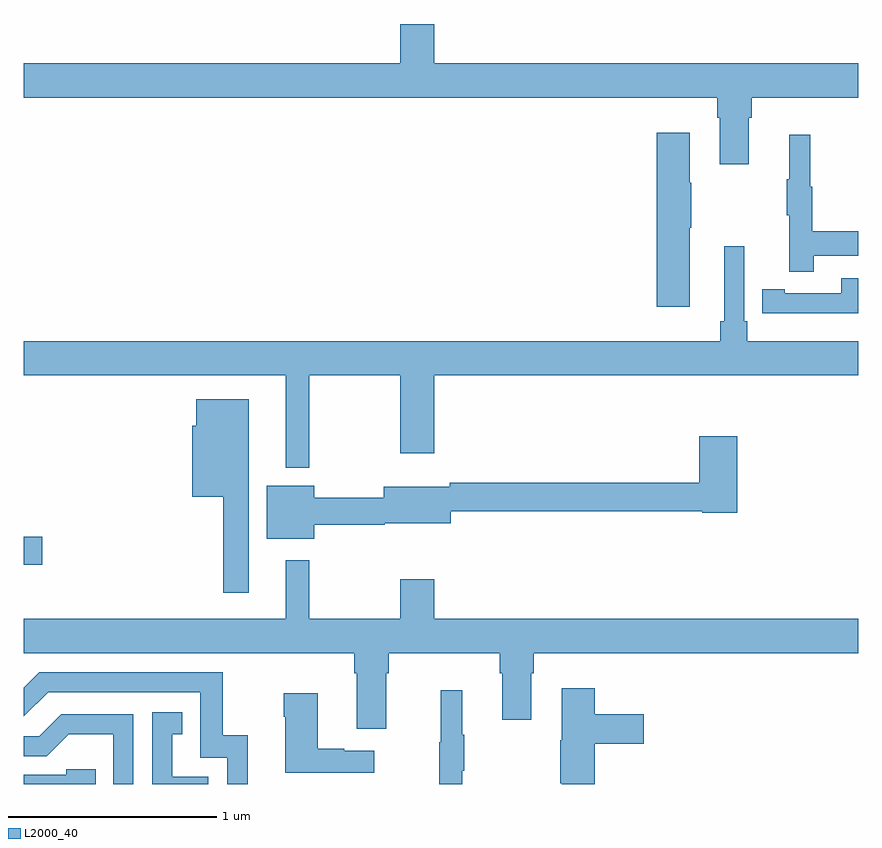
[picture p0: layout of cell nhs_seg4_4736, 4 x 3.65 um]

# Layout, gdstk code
import gdstk
lib = gdstk.Library(unit=1e-6, precision=1e-09)
def R(c, l, rs):  # rectangles x0, y0, x1, y1
    for r in rs: c.add(gdstk.rectangle(r[:2], r[2:], *l))
def P(c, l, *ps):  # polygons
    for p in ps: c.add(gdstk.Polygon(p, *l))
L2000_40 = (2000, 40)

nhs_seg4_4736 = lib.new_cell('nhs_seg4_4736')
R(nhs_seg4_4736, L2000_40, [(367,755.951,367.087,756.086)])
P(nhs_seg4_4736, L2000_40, [(370.477,758.096),(370.49,758.096),(370.49,758.192),(371,758.192),(371,758.356),(368.968,758.356),(368.968,758.545),(368.804,758.545),(368.804,758.356),(367,758.356),(367,758.192),(370.325,758.192),(370.325,758.096),(370.337,758.096),(370.337,757.872),(370.477,757.872)],
  [(370.192,757.567),(370.2,757.567),(370.2,757.784),(370.192,757.784),(370.192,758.023),(370.034,758.023),(370.034,757.188),(370.192,757.188)],
  [(370.787,757.434),(371,757.434),(371,757.55),(370.78,757.55),(370.78,757.764),(370.772,757.764),(370.772,758.014),(370.67,758.014),(370.67,757.801),(370.659,757.801),(370.659,757.627),(370.67,757.627),(370.67,757.356),(370.787,757.356)],
  [(368.369,756.86),(368.804,756.86),(368.804,756.486),(368.968,756.486),(368.968,756.86),(371,756.86),(371,757.024),(370.469,757.024),(370.469,757.12),(370.455,757.12),(370.455,757.48),(370.358,757.48),(370.358,757.12),(370.339,757.12),(370.339,757.024),(367,757.024),(367,756.86),(368.255,756.86),(368.255,756.416),(368.369,756.416)],
  [(371,757.326),(370.92,757.326),(370.92,757.254),(370.648,757.254),(370.648,757.274),(370.54,757.274),(370.54,757.158),(370.648,757.158),(370.648,757.157),(371,757.157)],
  [(368.077,756.745),(367.826,756.745),(367.826,756.618),(367.808,756.618),(367.808,756.278),(367.956,756.278),(367.956,755.817),(368.077,755.817)],
  [(368.392,756.144),(368.73,756.144),(368.73,756.151),(369.046,756.151),(369.046,756.208),(370.254,756.208),(370.254,756.2),(370.421,756.2),(370.421,756.568),(370.238,756.568),(370.238,756.344),(369.042,756.344),(369.042,756.325),(368.726,756.325),(368.726,756.272),(368.392,756.272),(368.392,756.331),(368.165,756.331),(368.165,756.077),(368.392,756.077)],
  [(368.737,755.432),(368.75,755.432),(368.75,755.528),(369.281,755.528),(369.281,755.432),(369.293,755.432),(369.293,755.208),(369.433,755.208),(369.433,755.432),(369.446,755.432),(369.446,755.528),(371,755.528),(371,755.692),(368.968,755.692),(368.968,755.881),(368.804,755.881),(368.804,755.692),(368.369,755.692),(368.369,755.974),(368.255,755.974),(368.255,755.692),(367,755.692),(367,755.528),(368.585,755.528),(368.585,755.432),(368.597,755.432),(368.597,755.166),(368.737,755.166)],
  [(368.072,755.134),(367.954,755.134),(367.954,755.436),(367.074,755.436),(367,755.362),(367,755.224),(367.116,755.34),(367.845,755.34),(367.845,755.025),(367.974,755.025),(367.974,754.9),(368.072,754.9)],
  [(369.737,755.093),(369.973,755.093),(369.973,755.235),(369.737,755.235),(369.737,755.359),(369.578,755.359),(369.578,755.109),(369.571,755.109),(369.571,754.903),(369.578,754.903),(369.578,754.9),(369.737,754.9)],
  [(369.101,754.963),(369.112,754.963),(369.112,755.137),(369.101,755.137),(369.101,755.35),(368.998,755.35),(368.998,755.1),(368.991,755.1),(368.991,754.9),(369.101,754.9)],
  [(368.68,755.059),(368.537,755.059),(368.537,755.069),(368.41,755.069),(368.41,755.335),(368.245,755.335),(368.245,755.222),(368.252,755.222),(368.252,754.955),(368.68,754.955)],
  [(367.884,754.935),(367.711,754.935),(367.711,755.139),(367.76,755.139),(367.76,755.245),(367.614,755.245),(367.614,754.9),(367.884,754.9)],
  [(367.524,755.235),(367.178,755.235),(367.073,755.13),(367,755.13),(367,755.034),(367.11,755.034),(367.214,755.138),(367.428,755.138),(367.428,754.9),(367.524,754.9)],
  [(367.343,754.971),(367.203,754.971),(367.203,754.944),(367,754.944),(367,754.9),(367.343,754.9)])

lib.write_gds('nhs_seg4_4736.gds')
